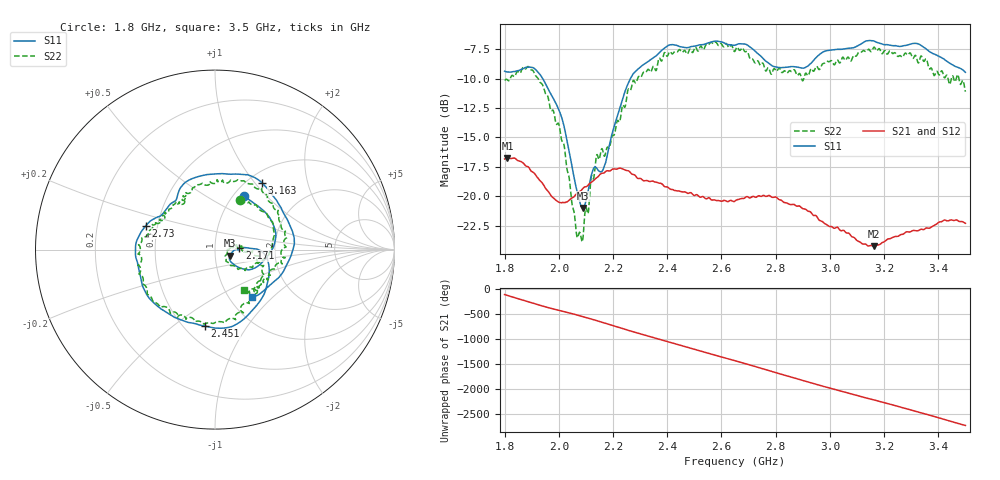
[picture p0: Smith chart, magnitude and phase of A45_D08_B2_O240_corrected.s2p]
! Created with skrf 1.9.0 (http://scikit-rf.org).
# Hz S RI R 50.0
!freq ReS11 ImS11 ReS21 ImS21 ReS12 ImS12 ReS22 ImS22
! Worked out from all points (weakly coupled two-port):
!   1601 points, 1.8 GHz to 3.5 GHz, reference 50 ohm
!   highest |S21| = -16.73 dB at 1.811 GHz (marker M1); lowest = -24.2 dB at 3.161 GHz (marker M2)
!   lowest |S11| = -21.0 dB at 2.089 GHz (marker M3), VSWR 1.20, Z = 58.9 - j3.98 ohm
!   |S11| at or under -10 dB: 1.941 GHz to 2.264 GHz (323.7 MHz wide, 15.4 % of centre)
!   |S22| runs from -23.8 to -6.9 dB; largest |S21 - S12| = 0.0027
!   S11 on the Smith chart (normalised r, x): 1.8 GHz: 1.12, +0.76; 2.171 GHz: 1.32, +0.03; 2.451 GHz: 0.63, -0.66; 2.73 GHz: 0.43, +0.14; 3.163 GHz: 1.16, +1.09; 3.5 GHz: 1.27, -0.76
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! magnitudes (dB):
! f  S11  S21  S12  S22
! 1.8 GHz  -9.4  -16.8  -16.8  -10.1
! 1.811 GHz  -9.4  -16.7  -16.7  -10.1
! 1.887 GHz  -9.0  -17.5  -17.6  -9.0
! 1.94 GHz  -10.0  -18.9  -18.9  -10.5
! 2.011 GHz  -13.4  -20.5  -20.5  -15.3
! 2.063 GHz  -19.2  -19.8  -19.8  -22.8
! 2.084 GHz  -20.9  -19.5  -19.4  -23.7
! 2.089 GHz  -21.0  -19.3  -19.3  -23.5
! 2.139 GHz  -17.6  -18.4  -18.4  -16.5
! 2.171 GHz  -17.3  -17.9  -18.0  -16.5
! 2.261 GHz  -10.2  -17.9  -17.9  -11.0
! 2.367 GHz  -7.9  -18.8  -18.8  -8.4
! 2.451 GHz  -7.3  -19.6  -19.6  -7.7
! 2.65 GHz  -7.2  -20.4  -20.4  -7.7
! 2.73 GHz  -7.8  -20.0  -20.1  -8.6
! 2.804 GHz  -9.0  -20.1  -20.1  -9.4
! 2.934 GHz  -8.6  -21.4  -21.4  -9.2
! 3.161 GHz  -6.8  -24.2  -24.2  -7.4
! 3.163 GHz  -6.8  -24.2  -24.2  -7.3
! 3.217 GHz  -7.2  -23.6  -23.6  -7.8
! 3.326 GHz  -7.1  -22.9  -22.9  -8.7
! 3.5 GHz  -9.5  -22.3  -22.3  -11.1
